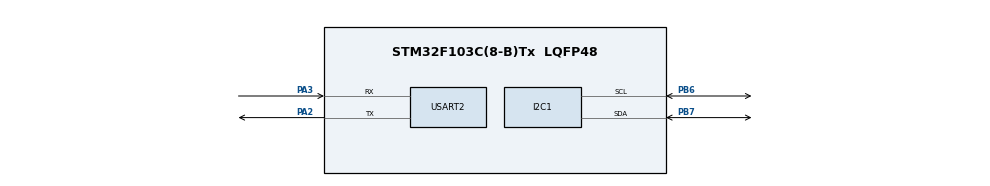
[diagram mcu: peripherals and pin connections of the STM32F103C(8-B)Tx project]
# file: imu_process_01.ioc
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I2C1.I2C_Mode=I2C_Fast
Mcu.Family=STM32F1
Mcu.Name=STM32F103C(8-B)Tx
Mcu.Package=LQFP48
NVIC.PriorityGroup=NVIC_PRIORITYGROUP_4
NVIC.USART2_IRQn=true\:0\:0\:false\:false\:true\:true\:true\:true
PA13.Mode=Serial_Wire
PA13.Signal=SYS_JTMS-SWDIO
PA14.Mode=Serial_Wire
PA14.Signal=SYS_JTCK-SWCLK
PA2.Mode=Asynchronous
PA2.Signal=USART2_TX
PA3.Mode=Asynchronous
PA3.Signal=USART2_RX
PB6.Mode=I2C
PB6.Signal=I2C1_SCL
PB7.Mode=I2C
PB7.Signal=I2C1_SDA
PC14-OSC32_IN.Mode=LSE-External-Oscillator
PC14-OSC32_IN.Signal=RCC_OSC32_IN
PC15-OSC32_OUT.Mode=LSE-External-Oscillator
PC15-OSC32_OUT.Signal=RCC_OSC32_OUT
PD0-OSC_IN.Mode=HSE-External-Oscillator
PD0-OSC_IN.Signal=RCC_OSC_IN
PD1-OSC_OUT.Mode=HSE-External-Oscillator
PD1-OSC_OUT.Signal=RCC_OSC_OUT
ProjectManager.HeapSize=0x200
ProjectManager.StackSize=0x400
ProjectManager.TargetToolchain=MDK-ARM V5.32
RCC.APB1Freq_Value=8000000
RCC.APB2Freq_Value=8000000
USART2.VirtualMode=VM_ASYNC
board=custom

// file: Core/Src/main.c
/* USER CODE BEGIN Header */
/**
  ******************************************************************************
  * @file           : main.c
  * @brief          : Main program body
  ******************************************************************************
  * @attention
  *
  * Copyright (c) 2026 STMicroelectronics.
  * All rights reserved.
  *
  * This software is licensed under terms that can be found in the LICENSE file
  * in the root directory of this software component.
  * If no LICENSE file comes with this software, it is provided AS-IS.
  *
  ******************************************************************************
  */
/* USER CODE END Header */
#include "main.h"
#include "i2c.h"
#include "usart.h"
#include "gpio.h"

/* USER CODE BEGIN Includes */
#include <stdio.h>
#include "imu_process.h"
/* USER CODE END Includes */

/* USER CODE BEGIN PD */
/* 调试开关：正式使用时都设为 0，串口只保留每次按压的 # 行。
 * 需要看波形或状态时再改回 1。 */
#define CPR_DEBUG_STATUS   0   /* 1 = 每秒打印 av / depth / rate / [diag] */
#define CPR_DEBUG_WAVE     0   /* 1 = 30 Hz 打印 W 行波形 */
#define CPR_DEBUG_OLD      0   /* 1 = 额外打印旧方法(dft1)的每一次结果，做 A/B 对比 */
/* USER CODE END PD */

void SystemClock_Config(void);

/* USER CODE BEGIN 0 */

/**
 * @brief  I2C 总线扫描：打印 0x08~0x77 之间所有有应答的 7 位地址
 * @note   用来判断“芯片到底在不在总线上、地址是 0x6A 还是 0x6B”
 */
static void imu_i2c_scan(void)
{
    uint8_t addr;
    uint8_t found = 0;

    printf("I2C scan (7-bit):");

    for (addr = 0x08; addr <= 0x77; addr++)
    {
        if (IMU_ProbeAddr(addr) == IMU_OK)
        {
            printf(" 0x%02X", addr);
            found = 1;
        }
    }

    if (found == 0)
    {
        printf(" <no device>");
    }

    printf("\r\n");
}

/**
 * @brief  重新初始化 I2C 外设
 * @note   STM32F1 的 HAL I2C 偶尔会卡在 BUSY 状态，DeInit + Init 可以复位状态机
 */
static void imu_i2c_recover(void)
{
    HAL_I2C_DeInit(&hi2c1);
    HAL_I2C_Init(&hi2c1);
}

/* USER CODE END 0 */

int main(void)
{

  /* MCU Configuration--------------------------------------------------------*/

  /* Reset of all peripherals, Initializes the Flash interface and the Systick. */
  HAL_Init();

  /* Configure the system clock */
  SystemClock_Config();

  /* Initialize all configured peripherals */
  MX_GPIO_Init();
  MX_I2C1_Init();
  MX_USART2_UART_Init();
  /* USER CODE BEGIN 2 */
  IMU_Config_t imu_cfg;
  IMU_Data_t   imu_data;
  IMU_Status_t imu_st;
  CPR_Result_t cpr = {0};
  uint32_t     last_tick;
  uint8_t      ev;
#if CPR_DEBUG_STATUS
  uint32_t     last_status;
#endif

  printf("\r\nLSM6DSV demo start\r\n");

  IMU_DefaultConfig(&imu_cfg);          /* 120 Hz / ±4 g / ±500 dps */
  imu_cfg.acc_odr = IMU_ODR_120;
  imu_cfg.gyr_odr = IMU_ODR_120;

  imu_st = IMU_Init(&imu_cfg);
  if (imu_st != IMU_OK)
  {
      uint8_t id = 0;

      printf("IMU init failed, code = %d\r\n", (int)imu_st);
      imu_i2c_recover();
      imu_i2c_scan();

      if (IMU_WhoAmI(&id) == IMU_OK)
      {
          printf("WHO_AM_I = 0x%02X\r\n", id);
      }
      else
      {
          printf("WHO_AM_I read failed\r\n");
      }

      /* 总线复位后再初始化一次（上电第一次失败的典型恢复流程） */
      printf("retry IMU init...\r\n");
      imu_st = IMU_Init(&imu_cfg);
  }

  if (imu_st == IMU_OK)
  {
      printf("IMU init ok\r\n");
      IMU_CalibrateGyro(200);           /* 保持静止约 1 秒 */
      printf("gyro bias calibrated\r\n");

      /* CPR 算法：采样率要和上面的 ODR 一致，120 Hz 直接传 0 用默认值 */
      CPR_Init(0);
      printf("CPR monitor ready, start compressions\r\n");
  }
  else
  {
      printf("IMU init still failed, check wiring\r\n");
  }

  last_tick = HAL_GetTick();
#if CPR_DEBUG_STATUS
  last_status = last_tick;
#endif
  /* USER CODE END 2 */

  /* Infinite loop */
  while (1)
  {

    /* USER CODE BEGIN 3 */
    /* 等一帧新数据，而不是固定延时，这样 ODR 变了也不用改这里 */
    if (IMU_WaitDataReady(20U) == IMU_OK)
    {
        uint32_t now = HAL_GetTick();
        float dt = (float)(now - last_tick) / 1000.0f;

        last_tick = now;

        /* dt 异常保护：首帧、调试暂停、丢帧 */
        if ((dt <= 0.0f) || (dt > 0.05f))
        {
            dt = 1.0f / 120.0f;
        }

        if (IMU_Read(&imu_data) == IMU_OK)
        {
            /* CPR_Update 每帧都会更新结果。两个"算完一次"的标志：
             *   返回值 1     —— 旧方法（dft1）在滞回过零处，比压到底早约 0.24 s
             *   cpr.ev2 == 1 —— 新方法（漏积分）在"压到底"那一个采样，延迟约 8.5 ms
             * 这里只在 ev2 时打印一行，保证 depth / dt / rate 都是同一次按压的。
             * 注意：out->t_ms / out->interval_ms 是旧方法专用的，在 ev2 时刻还是 0，
             *       所以 dt 和 rate 直接由新方法自己的事件时刻算。 */
            ev = CPR_Update(&imu_data, dt, &cpr);
            (void)ev;                       /* 只在 CPR_DEBUG_OLD 时用到 */

#if CPR_DEBUG_OLD
            if (ev != 0U)
            {
                printf("[old] #%lu t=%lu dt=%lu depth=%5.1f avg=%5.1f rate=%3.0f\r\n",
                       (unsigned long)cpr.count,
                       (unsigned long)cpr.t_ms,
                       (unsigned long)cpr.interval_ms,
                       cpr.depth_mm, cpr.depth_avg_mm, cpr.rate_cpm);
            }
#endif

            if (cpr.ev2 != 0U)
            {
                static uint32_t last_ev2 = 0U;
                uint32_t t_ev  = HAL_GetTick();
                uint32_t dt_ev = (last_ev2 == 0U) ? 0U : (t_ev - last_ev2);
                float    rate  = (dt_ev > 0U) ? (60000.0f / (float)dt_ev) : 0.0f;

                last_ev2 = t_ev;

                /* 结果行：序号、时刻(ms)、间隔(ms)、本次深度、2次平均、频率 */
                printf("#%lu  t=%lu ms  dt=%lu ms  depth=%5.1f mm  avg=%5.1f mm  rate=%3.0f cpm\r\n",
                       (unsigned long)cpr.count2,
                       (unsigned long)t_ev,
                       (unsigned long)dt_ev,
                       cpr.depth2_mm, cpr.depth2_avg_mm, rate);
            }

#if CPR_DEBUG_WAVE
            /* 30 Hz 输出波形：t(ms), 竖直加速度(mg), 深度(mm), 状态 */
            {
                static uint8_t wdiv = 0U;

                if (++wdiv >= 4U)
                {
                    wdiv = 0U;
                    printf("W,%lu,%.1f,%.1f,%u\r\n",
                           (unsigned long)HAL_GetTick(),
                           cpr.acc_v_mg, cpr.depth_mm, cpr.stat);
                }
            }
#endif
        }
    }

#if CPR_DEBUG_STATUS
    /* 每秒打印一次当前位移：按压时 d 应该在 ±20~30 mm 摆动。
       如果一直是 0，说明加速度没进来、或者运动方向不对 */
    {
        uint32_t now2 = HAL_GetTick();

        if ((now2 - last_status) >= 1000U)
        {
            last_status = now2;
            printf("[stat] av=%7.1f mg  depth=%5.1f (avg %5.1f)  rate=%3.0f  cnt=%lu  |a|=%4.0fmg  w=%3.0fdps\r\n",
                   cpr.acc_v_mg, cpr.depth_mm, cpr.depth_avg_mm, cpr.rate_cpm,
                   (unsigned long)cpr.count,
                   cpr.acc_mag_mg, cpr.gyr_mag_dps);

            /* 计数诊断：过零总数 / 周期超范围 / 深度超范围 / 转动过大 */
            printf("[diag] cross=%u  rejP=%u  rejD=%u  rejG=%u\r\n",
                   (unsigned)cpr.cross_n, (unsigned)cpr.rej_period,
                   (unsigned)cpr.rej_depth, (unsigned)cpr.rej_gyro);
        }
    }
#endif
    /* USER CODE END 3 */
  }
}

void SystemClock_Config(void)
{
  RCC_OscInitTypeDef RCC_OscInitStruct = {0};
  RCC_ClkInitTypeDef RCC_ClkInitStruct = {0};

  /** Initializes the RCC Oscillators according to the specified parameters
  * in the RCC_OscInitTypeDef structure.
  */
  RCC_OscInitStruct.OscillatorType = RCC_OSCILLATORTYPE_HSI;
  RCC_OscInitStruct.HSIState = RCC_HSI_ON;
  RCC_OscInitStruct.HSICalibrationValue = RCC_HSICALIBRATION_DEFAULT;
  RCC_OscInitStruct.PLL.PLLState = RCC_PLL_NONE;
  if (HAL_RCC_OscConfig(&RCC_OscInitStruct) != HAL_OK)
  {
    Error_Handler();
  }

  /** Initializes the CPU, AHB and APB buses clocks
  */
  RCC_ClkInitStruct.ClockType = RCC_CLOCKTYPE_HCLK|RCC_CLOCKTYPE_SYSCLK
                              |RCC_CLOCKTYPE_PCLK1|RCC_CLOCKTYPE_PCLK2;
  RCC_ClkInitStruct.SYSCLKSource = RCC_SYSCLKSOURCE_HSI;
  RCC_ClkInitStruct.AHBCLKDivider = RCC_SYSCLK_DIV1;
  RCC_ClkInitStruct.APB1CLKDivider = RCC_HCLK_DIV1;
  RCC_ClkInitStruct.APB2CLKDivider = RCC_HCLK_DIV1;

  if (HAL_RCC_ClockConfig(&RCC_ClkInitStruct, FLASH_LATENCY_0) != HAL_OK)
  {
    Error_Handler();
  }
}

void Error_Handler(void)
{
  __disable_irq();
  while (1)
  {
  }
}
